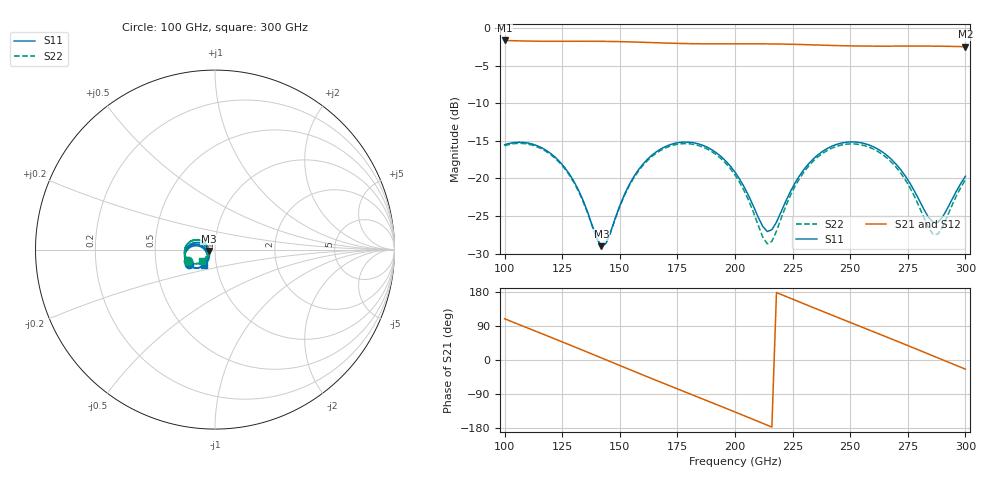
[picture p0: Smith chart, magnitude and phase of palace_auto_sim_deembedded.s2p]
! Created with skrf 1.11.0 (http://scikit-rf.org).
# GHz S DB R 50.0
!freq dBS11 angS11 dBS21 angS21 dBS12 angS12 dBS22 angS22
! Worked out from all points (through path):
!   101 points, 100 GHz to 300 GHz, reference 50 ohm
!   highest |S21| = -1.62 dB at 100 GHz (marker M1); lowest = -2.5 dB at 300 GHz (marker M2)
!   group delay of S21, straight-line fit = 6.85 ps
!   lowest |S11| = -29.0 dB at 142 GHz (marker M3), VSWR 1.07, Z = 46.6 - j0.662 ohm
!   |S11| at or under -10 dB: start of sweep to end of sweep
!   |S22| runs from -29.0 to -15.3 dB; largest |S21 - S12| = 9.4e-14
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100  -15.50 -150.4  -1.62 108.8  -1.62 108.8  -15.65 -156.6
108  -15.19 -166.6  -1.69 89.3  -1.69 89.3  -15.34 -173.3
116  -15.90 177.7  -1.73 69.8  -1.73 69.8  -16.04 170.6
126  -18.51 160.7  -1.73 45.3  -1.73 45.3  -18.66 152.9
134  -22.87 155.0  -1.73 25.5  -1.73 25.5  -23.00 146.9
142  -29.01 -168.5  -1.74 5.6  -1.74 5.6  -29.01 -177.3
144  -28.63 -149.0  -1.75 0.6  -1.75 0.6  -28.64 -158.5
154  -20.88 -122.0  -1.81 -24.5  -1.81 -24.5  -21.02 -132.5
168  -16.02 -142.0  -1.95 -59.1  -1.95 -59.1  -16.21 -153.4
184  -15.38 -171.7  -2.06 -98.1  -2.06 -98.1  -15.60 175.4
200  -19.16 163.9  -2.07 -137.2  -2.07 -137.2  -19.53 148.5
214  -27.05 -165.1  -2.08 -172.0  -2.08 -172.0  -28.70 -178.9
216  -26.83 -150.3  -2.08 -177.0  -2.08 -177.0  -28.36 -160.9
224  -21.77 -124.3  -2.13 163.1  -2.13 163.1  -22.29 -134.1
234  -17.38 -131.6  -2.21 138.3  -2.21 138.3  -17.68 -143.9
244  -15.47 -147.5  -2.30 113.7  -2.30 113.7  -15.73 -161.6
252  -15.14 -161.5  -2.35 94.3  -2.35 94.3  -15.41 -176.7
268  -17.49 173.3  -2.38 55.3  -2.38 55.3  -17.86 155.5
278  -21.74 168.6  -2.37 30.6  -2.37 30.6  -22.46 148.5
286  -25.84 -164.6  -2.38 10.7  -2.38 10.7  -27.45 178.0
290  -25.18 -141.2  -2.39 0.8  -2.39 0.8  -26.50 -153.9
300  -19.70 -124.7  -2.46 -24.1  -2.46 -24.1  -20.16 -138.8
